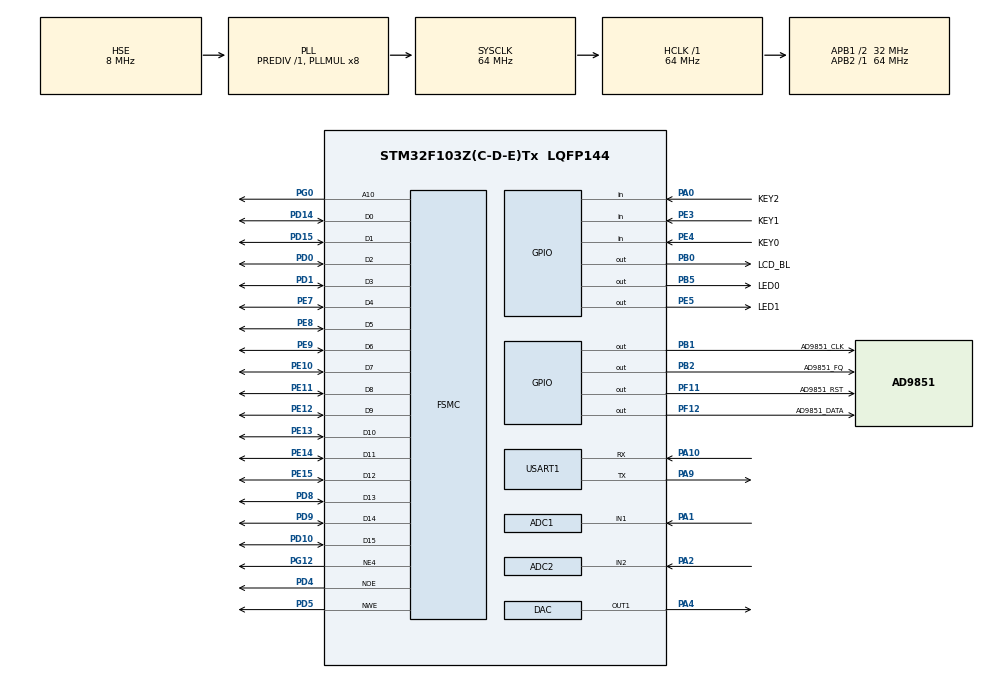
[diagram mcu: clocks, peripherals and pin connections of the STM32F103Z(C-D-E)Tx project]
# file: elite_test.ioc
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ADC1.Channel-0\#ChannelRegularConversion=ADC_CHANNEL_1
ADC1.EnableInjectedConversion=DISABLE
ADC1.ExternalTrigConv=ADC_EXTERNALTRIGCONV_T3_TRGO
ADC1.NbrOfConversionFlag=1
ADC1.Rank-0\#ChannelRegularConversion=1
ADC1.SamplingTime-0\#ChannelRegularConversion=ADC_SAMPLETIME_13CYCLES_5
ADC1.master=1
ADC2.Channel-15\#ChannelRegularConversion=ADC_CHANNEL_2
ADC2.NbrOfConversionFlag=1
ADC2.Rank-15\#ChannelRegularConversion=1
ADC2.SamplingTime-15\#ChannelRegularConversion=ADC_SAMPLETIME_13CYCLES_5
Dma.ADC1.1.Direction=DMA_PERIPH_TO_MEMORY
Dma.ADC1.1.Instance=DMA1_Channel1
Dma.ADC1.1.MemDataAlignment=DMA_MDATAALIGN_WORD
Dma.ADC1.1.MemInc=DMA_MINC_ENABLE
Dma.ADC1.1.Mode=DMA_NORMAL
Dma.ADC1.1.PeriphDataAlignment=DMA_PDATAALIGN_HALFWORD
Dma.ADC1.1.PeriphInc=DMA_PINC_DISABLE
Dma.ADC1.1.Priority=DMA_PRIORITY_VERY_HIGH
Dma.DAC_CH1.2.Direction=DMA_MEMORY_TO_PERIPH
Dma.DAC_CH1.2.Instance=DMA2_Channel3
Dma.DAC_CH1.2.MemDataAlignment=DMA_MDATAALIGN_HALFWORD
Dma.DAC_CH1.2.MemInc=DMA_MINC_ENABLE
Dma.DAC_CH1.2.Mode=DMA_CIRCULAR
Dma.DAC_CH1.2.PeriphDataAlignment=DMA_PDATAALIGN_HALFWORD
Dma.DAC_CH1.2.PeriphInc=DMA_PINC_DISABLE
Dma.DAC_CH1.2.Priority=DMA_PRIORITY_LOW
Dma.Request0=USART1_RX
Dma.Request1=ADC1
Dma.Request2=DAC_CH1
Dma.USART1_RX.0.Direction=DMA_PERIPH_TO_MEMORY
Dma.USART1_RX.0.Instance=DMA1_Channel5
Dma.USART1_RX.0.MemDataAlignment=DMA_MDATAALIGN_BYTE
Dma.USART1_RX.0.MemInc=DMA_MINC_ENABLE
Dma.USART1_RX.0.Mode=DMA_CIRCULAR
Dma.USART1_RX.0.PeriphDataAlignment=DMA_PDATAALIGN_BYTE
Dma.USART1_RX.0.PeriphInc=DMA_PINC_DISABLE
Dma.USART1_RX.0.Priority=DMA_PRIORITY_LOW
FSMC.AddressSetupTime1=0x06
FSMC.BusTurnAroundDuration1=0
FSMC.DataSetupTime1=26
FSMC.ExtendedAddressSetupTime1=3
FSMC.ExtendedBusTurnAroundDuration1=0
FSMC.ExtendedDataSetupTime1=0x06
FSMC.ExtendedMode1=FSMC_EXTENDED_MODE_ENABLE
Mcu.Family=STM32F1
Mcu.Name=STM32F103Z(C-D-E)Tx
Mcu.Package=LQFP144
NVIC.ADC1_2_IRQn=true\:0\:0\:false\:false\:true\:true\:true\:true
NVIC.DMA1_Channel1_IRQn=true\:0\:0\:false\:false\:true\:false\:true\:true
NVIC.DMA1_Channel5_IRQn=true\:0\:0\:false\:false\:true\:false\:true\:true
NVIC.DMA2_Channel3_IRQn=true\:0\:0\:false\:false\:true\:false\:true\:true
NVIC.PriorityGroup=NVIC_PRIORITYGROUP_4
NVIC.TIM6_IRQn=true\:0\:0\:false\:false\:true\:true\:true\:true
NVIC.USART1_IRQn=true\:0\:0\:false\:false\:true\:true\:true\:true
OSC_IN.Mode=HSE-External-Oscillator
OSC_IN.Signal=RCC_OSC_IN
OSC_OUT.Mode=HSE-External-Oscillator
OSC_OUT.Signal=RCC_OSC_OUT
PA0-WKUP.GPIO_Label=KEY2
PA0-WKUP.GPIO_PuPd=GPIO_PULLDOWN
PA0-WKUP.Signal=GPIO_Input
PA1.Signal=ADCx_IN1
PA10.Mode=Asynchronous
PA10.Signal=USART1_RX
PA2.Signal=ADCx_IN2
PA4.Signal=COMP_DAC1_group
PA9.Mode=Asynchronous
PA9.Signal=USART1_TX
PB0.GPIO_Label=LCD_BL
PB0.GPIO_PuPd=GPIO_PULLUP
PB0.GPIO_Speed=GPIO_SPEED_FREQ_HIGH
PB0.Signal=GPIO_Output
PB1.GPIO_Label=AD9851_CLK
PB1.GPIO_Speed=GPIO_SPEED_FREQ_HIGH
PB1.Signal=GPIO_Output
PB2.GPIO_Label=AD9851_FQ
PB2.GPIO_Speed=GPIO_SPEED_FREQ_HIGH
PB2.Signal=GPIO_Output
PB5.GPIO_Label=LED0
PB5.GPIO_PuPd=GPIO_PULLUP
PB5.GPIO_Speed=GPIO_SPEED_FREQ_HIGH
PB5.PinState=GPIO_PIN_SET
PB5.Signal=GPIO_Output
PC14-OSC32_IN.Mode=LSE-External-Clock-Source
PC14-OSC32_IN.Signal=RCC_OSC32_IN
PC15-OSC32_OUT.Mode=LSE-External-Clock-Source
PC15-OSC32_OUT.Signal=RCC_OSC32_OUT
PD0.Signal=FSMC_D2_DA2
PD1.Signal=FSMC_D3_DA3
PD10.Signal=FSMC_D15_DA15
PD14.Signal=FSMC_D0_DA0
PD15.Signal=FSMC_D1_DA1
PD4.Signal=FSMC_NOE
PD5.Signal=FSMC_NWE
PD8.Signal=FSMC_D13_DA13
PD9.Signal=FSMC_D14_DA14
PE10.Signal=FSMC_D7_DA7
PE11.Signal=FSMC_D8_DA8
PE12.Signal=FSMC_D9_DA9
PE13.Signal=FSMC_D10_DA10
PE14.Signal=FSMC_D11_DA11
PE15.Signal=FSMC_D12_DA12
PE3.GPIO_Label=KEY1
PE3.GPIO_PuPd=GPIO_PULLUP
PE3.Signal=GPIO_Input
PE4.GPIO_Label=KEY0
PE4.GPIO_PuPd=GPIO_PULLUP
PE4.Signal=GPIO_Input
PE5.GPIO_Label=LED1
PE5.GPIO_PuPd=GPIO_PULLUP
PE5.GPIO_Speed=GPIO_SPEED_FREQ_HIGH
PE5.PinState=GPIO_PIN_SET
PE5.Signal=GPIO_Output
PE7.Signal=FSMC_D4_DA4
PE8.Signal=FSMC_D5_DA5
PE9.Signal=FSMC_D6_DA6
PF11.GPIO_Label=AD9851_RST
PF11.GPIO_Speed=GPIO_SPEED_FREQ_HIGH
PF11.Signal=GPIO_Output
PF12.GPIO_Label=AD9851_DATA
PF12.GPIO_Speed=GPIO_SPEED_FREQ_HIGH
PF12.Signal=GPIO_Output
PG0.Signal=FSMC_A10
PG12.Mode=NorPsramChipSelect4_1
PG12.Signal=FSMC_NE4
ProjectManager.HeapSize=0x200
ProjectManager.StackSize=0x400
ProjectManager.TargetToolchain=MDK-ARM V5
RCC.ADCPresc=RCC_ADCPCLK2_DIV6
RCC.AHBFreq_Value=64000000
RCC.APB1CLKDivider=RCC_HCLK_DIV2
RCC.APB1Freq_Value=32000000
RCC.APB1TimFreq_Value=64000000
RCC.APB2Freq_Value=64000000
RCC.APB2TimFreq_Value=64000000
RCC.HCLKFreq_Value=64000000
RCC.PLLMUL=RCC_PLL_MUL8
RCC.PLLSourceVirtual=RCC_PLLSOURCE_HSE
RCC.SYSCLKFreq_VALUE=64000000
RCC.SYSCLKSource=RCC_SYSCLKSOURCE_PLLCLK
RCC.USBFreq_Value=64000000
SH.ADCx_IN1.0=ADC1_IN1,IN1
SH.ADCx_IN2.0=ADC2_IN2,IN2
SH.COMP_DAC1_group.0=DAC_OUT1,DAC_OUT1
SH.FSMC_A10.0=FSMC_A10,A10_1
SH.FSMC_D0_DA0.0=FSMC_D0,16b-d1
SH.FSMC_D10_DA10.0=FSMC_D10,16b-d1
SH.FSMC_D11_DA11.0=FSMC_D11,16b-d1
SH.FSMC_D12_DA12.0=FSMC_D12,16b-d1
SH.FSMC_D13_DA13.0=FSMC_D13,16b-d1
SH.FSMC_D14_DA14.0=FSMC_D14,16b-d1
SH.FSMC_D15_DA15.0=FSMC_D15,16b-d1
SH.FSMC_D1_DA1.0=FSMC_D1,16b-d1
SH.FSMC_D2_DA2.0=FSMC_D2,16b-d1
SH.FSMC_D3_DA3.0=FSMC_D3,16b-d1
SH.FSMC_D4_DA4.0=FSMC_D4,16b-d1
SH.FSMC_D5_DA5.0=FSMC_D5,16b-d1
SH.FSMC_D6_DA6.0=FSMC_D6,16b-d1
SH.FSMC_D7_DA7.0=FSMC_D7,16b-d1
SH.FSMC_D8_DA8.0=FSMC_D8,16b-d1
SH.FSMC_D9_DA9.0=FSMC_D9,16b-d1
SH.FSMC_NOE.0=FSMC_NOE,Lcd1
SH.FSMC_NWE.0=FSMC_NWE,Lcd1
TIM3.AutoReloadPreload=TIM_AUTORELOAD_PRELOAD_ENABLE
TIM3.Period=1000-1
TIM3.Prescaler=28-1
TIM3.TIM_MasterOutputTrigger=TIM_TRGO_UPDATE
TIM6.AutoReloadPreload=TIM_AUTORELOAD_PRELOAD_ENABLE
TIM6.Period=1000-1
TIM6.Prescaler=72-1
TIM7.Period=65535
TIM7.Prescaler=72-1
USART1.VirtualMode=VM_ASYNC
VP_SYS_VS_ND.Mode=No_Debug
VP_TIM3_VS_ClockSourceINT.Mode=Internal
VP_TIM6_VS_ClockSourceINT.Mode=Enable_Timer
VP_TIM7_VS_ClockSourceINT.Mode=Enable_Timer
board=custom

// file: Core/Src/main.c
/* USER CODE BEGIN Header */
/**
  ******************************************************************************
  * @file           : main.c
  * @brief          : Main program body
  ******************************************************************************
  * @attention
  *
  * Copyright (c) 2023 STMicroelectronics.
  * All rights reserved.
  *
  * This software is licensed under terms that can be found in the LICENSE file
  * in the root directory of this software component.
  * If no LICENSE file comes with this software, it is provided AS-IS.
  *
  ******************************************************************************
  */
/* USER CODE END Header */
#include "main.h"
#include "adc.h"
#include "dac.h"
#include "dma.h"
#include "tim.h"
#include "usart.h"
#include "gpio.h"
#include "fsmc.h"

/* USER CODE BEGIN Includes */
#include "ui.h"
#include "arm_math.h"
/* USER CODE END Includes */

/* USER CODE BEGIN PD */
#define DDS_VOL 4000				// 设置正弦波的幅度（0~4095）        816为100mV输出
#define DDS_FRE 1000000		// 设置正弦波的频率（1~100MHz）
/* USER CODE END PD */

/* USER CODE BEGIN PV */
key_t Key0, Key1, Key2;
extern int dacval;
/* USER CODE END PV */

void SystemClock_Config(void);

int main(void)
{

  /* MCU Configuration--------------------------------------------------------*/

  /* Reset of all peripherals, Initializes the Flash interface and the Systick. */
  HAL_Init();

  /* Configure the system clock */
  SystemClock_Config();

  /* Initialize all configured peripherals */
  MX_GPIO_Init();
  MX_DMA_Init();
  MX_TIM6_Init();
  MX_TIM7_Init();
  MX_USART1_UART_Init();
  MX_FSMC_Init();
  MX_ADC1_Init();
  MX_TIM3_Init();
  MX_DAC_Init();
  MX_ADC2_Init();
  /* USER CODE BEGIN 2 */

	lv_init();
	lv_port_disp_init();
	lv_port_indev_init();

	ui_init();

	Key0.keyFlag = 0;
	Key1.keyFlag = 0;
	Key2.keyFlag = 0;
	Key0.keyState = KEY_COMFIRM;
	Key1.keyState = KEY_CHECK;
	Key2.keyState = KEY_CHECK;

	HAL_TIM_Base_Start(&htim3);
	HAL_TIM_Base_Start_IT(&htim6);

	HAL_ADCEx_Calibration_Start(&hadc1);
	HAL_ADC_Start(&hadc1);
	HAL_DAC_Start(&hdac,DAC_CHANNEL_1);  			//开启DAC通道1
	HAL_DAC_SetValue(&hdac,DAC_CHANNEL_1,DAC_ALIGN_12B_R,dacval);//初始值为0

	GPIO_AD9854_Configuration(); // AD9854IO口初始化
	delay_ms(5);
	AD9854_Init ();

	AD9851_Init();
	delay_ms(5);
	AD9851_Setfq(10000);

	AD9854_SetSine (DDS_FRE, DDS_VOL);
  /* USER CODE END 2 */

  /* Infinite loop */
  /* USER CODE BEGIN WHILE */
	printf("初始化完成");

	while (1)
  {
		lv_timer_handler();
		delay_ms(5);
    /* USER CODE END WHILE */

  }
}

void SystemClock_Config(void)
{
  RCC_OscInitTypeDef RCC_OscInitStruct = {0};
  RCC_ClkInitTypeDef RCC_ClkInitStruct = {0};
  RCC_PeriphCLKInitTypeDef PeriphClkInit = {0};

  /** Initializes the RCC Oscillators according to the specified parameters
  * in the RCC_OscInitTypeDef structure.
  */
  RCC_OscInitStruct.OscillatorType = RCC_OSCILLATORTYPE_HSE;
  RCC_OscInitStruct.HSEState = RCC_HSE_ON;
  RCC_OscInitStruct.HSEPredivValue = RCC_HSE_PREDIV_DIV1;
  RCC_OscInitStruct.HSIState = RCC_HSI_ON;
  RCC_OscInitStruct.PLL.PLLState = RCC_PLL_ON;
  RCC_OscInitStruct.PLL.PLLSource = RCC_PLLSOURCE_HSE;
  RCC_OscInitStruct.PLL.PLLMUL = RCC_PLL_MUL8;
  if (HAL_RCC_OscConfig(&RCC_OscInitStruct) != HAL_OK)
  {
    Error_Handler();
  }

  /** Initializes the CPU, AHB and APB buses clocks
  */
  RCC_ClkInitStruct.ClockType = RCC_CLOCKTYPE_HCLK|RCC_CLOCKTYPE_SYSCLK
                              |RCC_CLOCKTYPE_PCLK1|RCC_CLOCKTYPE_PCLK2;
  RCC_ClkInitStruct.SYSCLKSource = RCC_SYSCLKSOURCE_PLLCLK;
  RCC_ClkInitStruct.AHBCLKDivider = RCC_SYSCLK_DIV1;
  RCC_ClkInitStruct.APB1CLKDivider = RCC_HCLK_DIV2;
  RCC_ClkInitStruct.APB2CLKDivider = RCC_HCLK_DIV1;

  if (HAL_RCC_ClockConfig(&RCC_ClkInitStruct, FLASH_LATENCY_2) != HAL_OK)
  {
    Error_Handler();
  }
  PeriphClkInit.PeriphClockSelection = RCC_PERIPHCLK_ADC;
  PeriphClkInit.AdcClockSelection = RCC_ADCPCLK2_DIV6;
  if (HAL_RCCEx_PeriphCLKConfig(&PeriphClkInit) != HAL_OK)
  {
    Error_Handler();
  }
}

void Error_Handler(void)
{
  __disable_irq();
  while (1)
  {
  }
}
